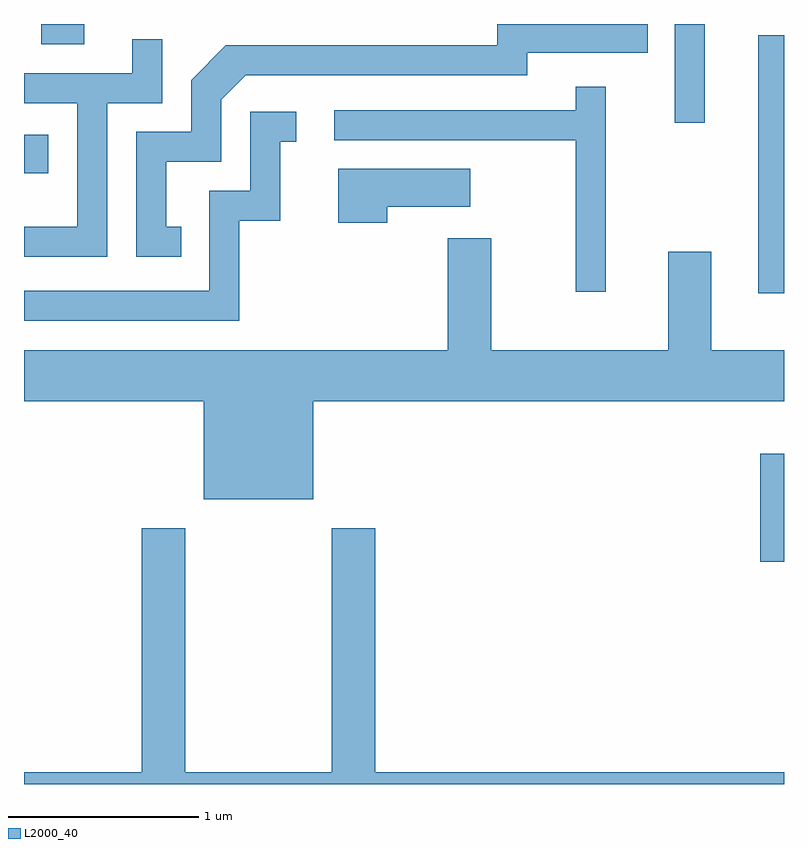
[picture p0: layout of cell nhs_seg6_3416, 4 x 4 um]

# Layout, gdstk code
import gdstk
lib = gdstk.Library(unit=1e-6, precision=1e-09)
def R(c, l, rs):  # rectangles x0, y0, x1, y1
    for r in rs: c.add(gdstk.rectangle(r[:2], r[2:], *l))
def P(c, l, *ps):  # polygons
    for p in ps: c.add(gdstk.Polygon(p, *l))
L2000_40 = (2000, 40)

nhs_seg6_3416 = lib.new_cell('nhs_seg6_3416')
R(nhs_seg6_3416, L2000_40, [(291.486,1631.331,291.611,1631.899), (291.476,1632.746,291.611,1634.104), (287.611,1633.376,287.739,1633.579), (291.036,1633.643,291.194,1634.162), (287.701,1634.056,287.929,1634.162)])
P(nhs_seg6_3416, L2000_40, [(288.438,1633.094),(288.359,1633.094),(288.359,1633.436),(288.649,1633.436),(288.649,1633.764),(288.777,1633.891),(290.259,1633.891),(290.259,1634.011),(290.893,1634.011),(290.893,1634.162),(290.101,1634.162),(290.101,1634.049),(288.674,1634.049),(288.491,1633.867),(288.491,1633.594),(288.201,1633.594),(288.201,1632.936),(288.438,1632.936)],
  [(288.049,1633.746),(288.339,1633.746),(288.339,1634.083),(288.181,1634.083),(288.181,1633.904),(287.611,1633.904),(287.611,1633.746),(287.891,1633.746),(287.891,1633.094),(287.611,1633.094),(287.611,1632.936),(288.049,1632.936)],
  [(290.674,1633.833),(290.516,1633.833),(290.516,1633.709),(289.243,1633.709),(289.243,1633.551),(290.516,1633.551),(290.516,1632.753),(290.674,1632.753)],
  [(288.744,1633.126),(288.959,1633.126),(288.959,1633.541),(289.043,1633.541),(289.043,1633.699),(288.801,1633.699),(288.801,1633.284),(288.586,1633.284),(288.586,1632.759),(287.611,1632.759),(287.611,1632.601),(288.744,1632.601)],
  [(289.524,1633.201),(289.959,1633.201),(289.959,1633.399),(289.266,1633.399),(289.266,1633.116),(289.524,1633.116)],
  [(291.611,1632.444),(291.229,1632.444),(291.229,1632.964),(291.001,1632.964),(291.001,1632.444),(290.069,1632.444),(290.069,1633.034),(289.841,1633.034),(289.841,1632.444),(287.611,1632.444),(287.611,1632.176),(288.556,1632.176),(288.556,1631.661),(289.134,1631.661),(289.134,1632.176),(291.611,1632.176)],
  [(291.611,1630.224),(289.459,1630.224),(289.459,1631.509),(289.231,1631.509),(289.231,1630.224),(288.459,1630.224),(288.459,1631.509),(288.231,1631.509),(288.231,1630.224),(287.611,1630.224),(287.611,1630.162),(291.611,1630.162)])

lib.write_gds('nhs_seg6_3416.gds')
